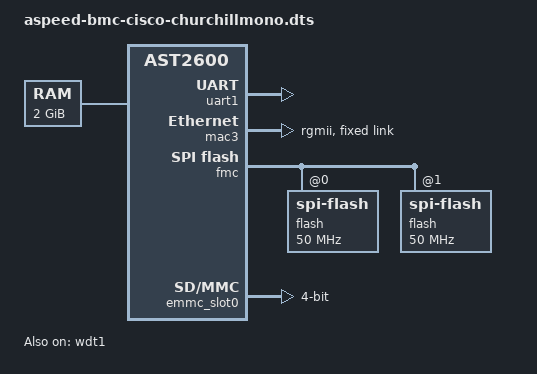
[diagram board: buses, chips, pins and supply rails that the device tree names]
// SPDX-License-Identifier: GPL-2.0+
/*
 * Copyright (c) 2022 Cisco Systems Inc.
 * Copyright (c) Meta Platforms, Inc. and affiliates.
 */

/dts-v1/;

#include "ast2600-u-boot.dtsi"

/ {
	memory {
		device_type = "memory";
		reg = <0x80000000 0x80000000>;
	};

	chosen {
		stdout-path = &uart1;
	};

	aliases {
		spi0 = &fmc;
		ethernet0 = &mac3;
	};

	cpus {
		cpu@0 {
			clock-frequency = <800000000>;
		};
		cpu@1 {
			clock-frequency = <800000000>;
		};
	};
};

&uart1 {
	u-boot,dm-pre-reloc;
	status = "okay";
};

&wdt1 {
	u-boot,dm-pre-reloc;
	status = "okay";
};

&mac3 {
	status = "okay";

	phy-mode = "rgmii";
	pinctrl-names = "default";
	pinctrl-0 = <&pinctrl_rgmii4_default &pinctrl_mac4link_default>;

	fixed-link {
		speed = <1000>;
		full-duplex;
	};
};

&fmc {
	status = "okay";

	flash@0 {
		compatible = "spi-flash", "sst,w25q256";
		status = "okay";
		spi-max-frequency = <50000000>;
		spi-tx-bus-width = <2>;
		spi-rx-bus-width = <2>;
	};

	flash@1 {
		compatible = "spi-flash", "sst,w25q256";
		status = "okay";
		spi-max-frequency = <50000000>;
		spi-tx-bus-width = <2>;
		spi-rx-bus-width = <2>;
	};
};

&sdrammc {
	clock-frequency = <400000000>;
};

&emmc_slot0 {
	status = "okay";
	bus-width = <4>;
	pinctrl-names = "default";
	pinctrl-0 = <&pinctrl_emmc_default>;
};
